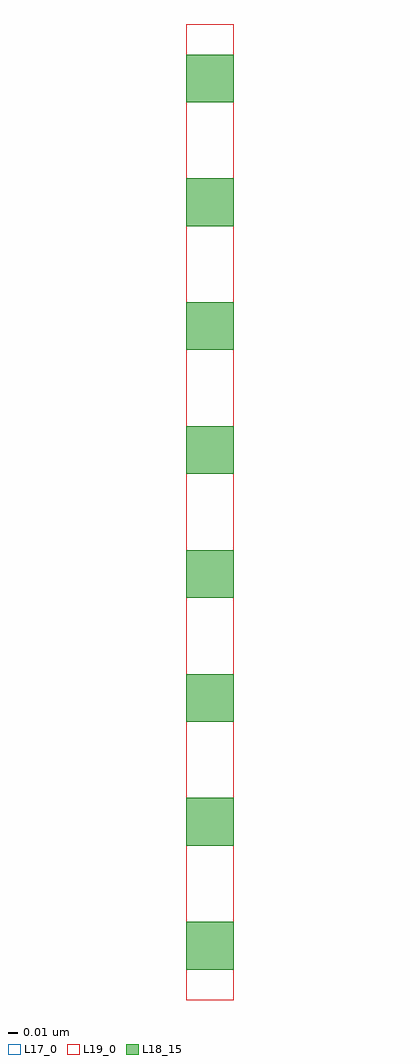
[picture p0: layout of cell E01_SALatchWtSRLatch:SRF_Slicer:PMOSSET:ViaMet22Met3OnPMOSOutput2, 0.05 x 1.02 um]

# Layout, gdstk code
import gdstk
lib = gdstk.Library(unit=1e-6, precision=1e-09)
def R(c, l, rs):  # rectangles x0, y0, x1, y1
    for r in rs: c.add(gdstk.rectangle(r[:2], r[2:], *l))
def A(c, l, x, y, w, h, nx, ny, dx, dy):  # array of equal rectangles
    R(c, l, [(x+i*dx, y+j*dy, x+i*dx+w, y+j*dy+h) for i in range(nx) for j in range(ny)])
L17_0 = (17, 0)
L18_15 = (18, 15)
L19_0 = (19, 0)

e01_salatchwtsrlatch_srf = lib.new_cell('E01_SALatchWtSRLatch:SRF_Slicer:PMOSSET:ViaMet22Met3OnPMOSOutput2')
R(e01_salatchwtsrlatch_srf, L17_0, [(-0.025,-0.512,0.025,0.512)])
A(e01_salatchwtsrlatch_srf, L18_15, -0.025, -0.48, 0.05, 0.05, 1, 8, 0, 0.13)
R(e01_salatchwtsrlatch_srf, L19_0, [(-0.025,-0.512,0.025,0.512)])

lib.write_gds('E01_SALatchWtSRLatch_SRF_Slicer_PMOSSET_ViaMet22Met3OnPMOSOutput2.gds')
